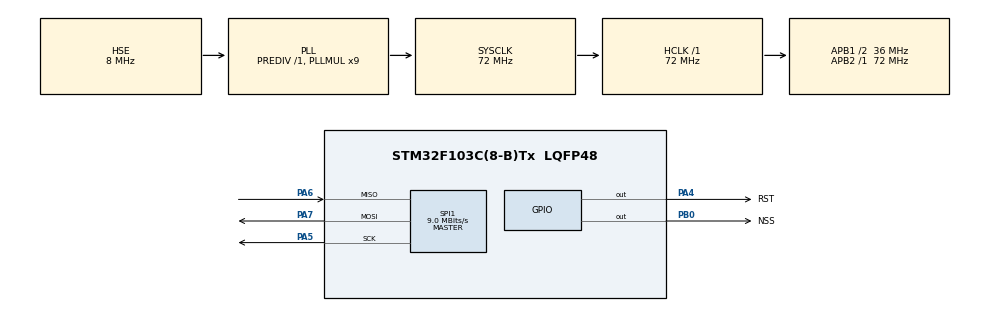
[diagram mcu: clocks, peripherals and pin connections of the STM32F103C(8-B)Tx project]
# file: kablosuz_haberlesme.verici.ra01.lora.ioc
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Mcu.Family=STM32F1
Mcu.Name=STM32F103C(8-B)Tx
Mcu.Package=LQFP48
NVIC.PriorityGroup=NVIC_PRIORITYGROUP_4
PA13.Mode=Serial_Wire
PA13.Signal=SYS_JTMS-SWDIO
PA14.Mode=Serial_Wire
PA14.Signal=SYS_JTCK-SWCLK
PA4.GPIO_Label=RST
PA4.PinState=GPIO_PIN_SET
PA4.Signal=GPIO_Output
PA5.Mode=Full_Duplex_Master
PA5.Signal=SPI1_SCK
PA6.Mode=Full_Duplex_Master
PA6.Signal=SPI1_MISO
PA7.Mode=Full_Duplex_Master
PA7.Signal=SPI1_MOSI
PB0.GPIO_Label=NSS
PB0.PinState=GPIO_PIN_SET
PB0.Signal=GPIO_Output
PD0-OSC_IN.Mode=HSE-External-Oscillator
PD0-OSC_IN.Signal=RCC_OSC_IN
PD1-OSC_OUT.Mode=HSE-External-Oscillator
PD1-OSC_OUT.Signal=RCC_OSC_OUT
ProjectManager.HeapSize=0x200
ProjectManager.StackSize=0x400
ProjectManager.TargetToolchain=STM32CubeIDE
RCC.AHBFreq_Value=72000000
RCC.APB1CLKDivider=RCC_HCLK_DIV2
RCC.APB1Freq_Value=36000000
RCC.APB1TimFreq_Value=72000000
RCC.APB2Freq_Value=72000000
RCC.APB2TimFreq_Value=72000000
RCC.HCLKFreq_Value=72000000
RCC.PLLMUL=RCC_PLL_MUL9
RCC.PLLSourceVirtual=RCC_PLLSOURCE_HSE
RCC.SYSCLKFreq_VALUE=72000000
RCC.SYSCLKSource=RCC_SYSCLKSOURCE_PLLCLK
RCC.USBFreq_Value=72000000
SPI1.BaudRatePrescaler=SPI_BAUDRATEPRESCALER_8
SPI1.CalculateBaudRate=9.0 MBits/s
SPI1.Direction=SPI_DIRECTION_2LINES
SPI1.Mode=SPI_MODE_MASTER
SPI1.VirtualType=VM_MASTER
board=custom

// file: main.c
/* USER CODE BEGIN Header */
/**
  ******************************************************************************
  * @file           : main.c
  * @brief          : Main program body
  ******************************************************************************
  * @attention
  *
  * Copyright (c) 2023 STMicroelectronics.
  * All rights reserved.
  *
  * This software is licensed under terms that can be found in the LICENSE file
  * in the root directory of this software component.
  * If no LICENSE file comes with this software, it is provided AS-IS.
  *
  ******************************************************************************
  */
/* USER CODE END Header */
#include "main.h"

/* USER CODE BEGIN Includes */
#include "ra01_lora.h"
#include <stdlib.h>
/* USER CODE END Includes */

 SPI_HandleTypeDef hspi1;

/* USER CODE BEGIN PV */
 LoRa myLoRa;

 uint8_t send_data[128];

 int RSSI;
/* USER CODE END PV */

void SystemClock_Config(void);
static void MX_GPIO_Init(void);
static void MX_SPI1_Init(void);

int main(void)
{

  /* MCU Configuration--------------------------------------------------------*/

  /* Reset of all peripherals, Initializes the Flash interface and the Systick. */
  HAL_Init();

  /* Configure the system clock */
  SystemClock_Config();

  /* Initialize all configured peripherals */
  MX_GPIO_Init();
  MX_SPI1_Init();
  /* USER CODE BEGIN 2 */
	// MODULE SETTINGS ----------------------------------------------
	myLoRa = newLoRa();

	myLoRa.hSPIx                 = &hspi1;
	myLoRa.CS_port               = NSS_GPIO_Port;
	myLoRa.CS_pin                = NSS_Pin;
	myLoRa.reset_port            = RST_GPIO_Port;
	myLoRa.reset_pin             = RST_Pin;

	myLoRa.frequency             = 433;		// default = 433 MHz
	myLoRa.spredingFactor        = SF_7;		// default = SF_7
	myLoRa.bandWidth	     = BW_125KHz;	// default = BW_125KHz
	myLoRa.crcRate		     = CR_4_5;		// default = CR_4_5
	myLoRa.power		     = POWER_20db;	// default = 20db
	myLoRa.overCurrentProtection = 120; 		// default = 100 mA
	myLoRa.preamble		     = 10;		// default = 8;

	LoRa_reset(&myLoRa);
	LoRa_init(&myLoRa);
	//---------------------------------------------------------------
  /* USER CODE END 2 */

  /* Infinite loop */
  while (1)
  {

    /* USER CODE BEGIN 3 */
		// SENDING DATA - - - - - - - - - - - - - - - - - - - - - - - - -
		send_data[0] = 0x3B; // MY ADDRESS
		for(int i=0; i<26; i++)
			send_data[i+1] = 48+i;
		LoRa_transmit(&myLoRa, send_data, 128, 500);
		HAL_Delay(1500);
  }
  /* USER CODE END 3 */
}

void SystemClock_Config(void)
{
  RCC_OscInitTypeDef RCC_OscInitStruct = {0};
  RCC_ClkInitTypeDef RCC_ClkInitStruct = {0};

  /** Initializes the RCC Oscillators according to the specified parameters
  * in the RCC_OscInitTypeDef structure.
  */
  RCC_OscInitStruct.OscillatorType = RCC_OSCILLATORTYPE_HSE;
  RCC_OscInitStruct.HSEState = RCC_HSE_ON;
  RCC_OscInitStruct.HSEPredivValue = RCC_HSE_PREDIV_DIV1;
  RCC_OscInitStruct.HSIState = RCC_HSI_ON;
  RCC_OscInitStruct.PLL.PLLState = RCC_PLL_ON;
  RCC_OscInitStruct.PLL.PLLSource = RCC_PLLSOURCE_HSE;
  RCC_OscInitStruct.PLL.PLLMUL = RCC_PLL_MUL9;
  if (HAL_RCC_OscConfig(&RCC_OscInitStruct) != HAL_OK)
  {
    Error_Handler();
  }

  /** Initializes the CPU, AHB and APB buses clocks
  */
  RCC_ClkInitStruct.ClockType = RCC_CLOCKTYPE_HCLK|RCC_CLOCKTYPE_SYSCLK
                              |RCC_CLOCKTYPE_PCLK1|RCC_CLOCKTYPE_PCLK2;
  RCC_ClkInitStruct.SYSCLKSource = RCC_SYSCLKSOURCE_PLLCLK;
  RCC_ClkInitStruct.AHBCLKDivider = RCC_SYSCLK_DIV1;
  RCC_ClkInitStruct.APB1CLKDivider = RCC_HCLK_DIV2;
  RCC_ClkInitStruct.APB2CLKDivider = RCC_HCLK_DIV1;

  if (HAL_RCC_ClockConfig(&RCC_ClkInitStruct, FLASH_LATENCY_2) != HAL_OK)
  {
    Error_Handler();
  }
}

static void MX_SPI1_Init(void)
{

  /* SPI1 parameter configuration*/
  hspi1.Instance = SPI1;
  hspi1.Init.Mode = SPI_MODE_MASTER;
  hspi1.Init.Direction = SPI_DIRECTION_2LINES;
  hspi1.Init.DataSize = SPI_DATASIZE_8BIT;
  hspi1.Init.CLKPolarity = SPI_POLARITY_LOW;
  hspi1.Init.CLKPhase = SPI_PHASE_1EDGE;
  hspi1.Init.NSS = SPI_NSS_SOFT;
  hspi1.Init.BaudRatePrescaler = SPI_BAUDRATEPRESCALER_8;
  hspi1.Init.FirstBit = SPI_FIRSTBIT_MSB;
  hspi1.Init.TIMode = SPI_TIMODE_DISABLE;
  hspi1.Init.CRCCalculation = SPI_CRCCALCULATION_DISABLE;
  hspi1.Init.CRCPolynomial = 10;
  if (HAL_SPI_Init(&hspi1) != HAL_OK)
  {
    Error_Handler();
  }

}

static void MX_GPIO_Init(void)
{
  GPIO_InitTypeDef GPIO_InitStruct = {0};

  /* GPIO Ports Clock Enable */
  __HAL_RCC_GPIOD_CLK_ENABLE();
  __HAL_RCC_GPIOA_CLK_ENABLE();
  __HAL_RCC_GPIOB_CLK_ENABLE();

  /*Configure GPIO pin Output Level */
  HAL_GPIO_WritePin(RST_GPIO_Port, RST_Pin, GPIO_PIN_SET);

  /*Configure GPIO pin Output Level */
  HAL_GPIO_WritePin(NSS_GPIO_Port, NSS_Pin, GPIO_PIN_SET);

  /*Configure GPIO pin : RST_Pin */
  GPIO_InitStruct.Pin = RST_Pin;
  GPIO_InitStruct.Mode = GPIO_MODE_OUTPUT_PP;
  GPIO_InitStruct.Pull = GPIO_NOPULL;
  GPIO_InitStruct.Speed = GPIO_SPEED_FREQ_LOW;
  HAL_GPIO_Init(RST_GPIO_Port, &GPIO_InitStruct);

  /*Configure GPIO pin : NSS_Pin */
  GPIO_InitStruct.Pin = NSS_Pin;
  GPIO_InitStruct.Mode = GPIO_MODE_OUTPUT_PP;
  GPIO_InitStruct.Pull = GPIO_NOPULL;
  GPIO_InitStruct.Speed = GPIO_SPEED_FREQ_LOW;
  HAL_GPIO_Init(NSS_GPIO_Port, &GPIO_InitStruct);

}

/* USER CODE BEGIN 4 */
void HAL_GPIO_EXTI_Callback(uint16_t GPIO_Pin){
	if(GPIO_Pin == myLoRa.DIO0_pin){

	}
}
/* USER CODE END 4 */

void Error_Handler(void)
{
  __disable_irq();
  while (1)
  {
  }
}
